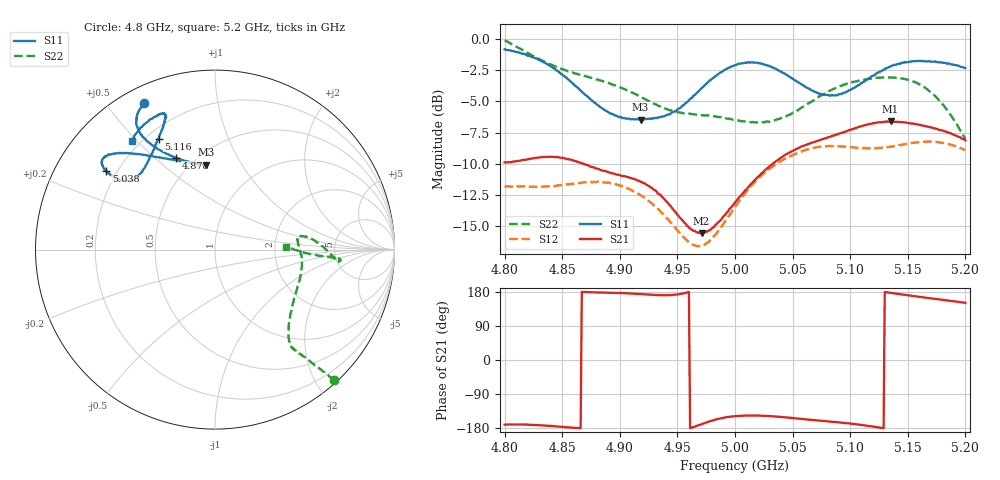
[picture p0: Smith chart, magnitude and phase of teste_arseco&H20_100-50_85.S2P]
! Network Analyzer HP8722D
! Hewlett-Packard
! Data name: Linha & Wilkinson
! Saver's name: Rodrigo Anjos
! Comments: Teste da utilização de aquisição
! continua pelo VNA HP8722D
! Time and date: 6/5/2025 13:16
!  Frequency  S11  S21  S12  S22
# HZ  S  MA R 50
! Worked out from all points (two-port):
!   401 points, 4.8 GHz to 5.2 GHz, reference 50 ohm
!   highest |S21| = -6.59 dB at 5.135 GHz (marker M1); lowest = -15.5 dB at 4.971 GHz (marker M2)
!   |S21| within 3 dB of the highest: 4.823 GHz to 4.853 GHz (30.28 MHz wide, 0.626 % of centre); 5.039 GHz to end of sweep
!   lowest |S11| = -6.5 dB at 4.918 GHz (marker M3), VSWR 2.81, Z = 29.1 + j35.5 ohm
!   |S11| at or under -10 dB: nowhere
!   |S22| runs from -8.0 to -0.1 dB; largest |S21 - S12| = 0.83
!   S11 on the Smith chart (normalised r, x): 4.8 GHz: 0.07, +0.63; 4.878 GHz: 0.40, +0.59; 5.038 GHz: 0.16, +0.32; 5.116 GHz: 0.25, +0.59; 5.2 GHz: 0.17, +0.48
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4.8e9  0.907 115.7  0.3206 -170.6  0.2567 -86.1  0.9845 -47.5
4.819e9  0.8622 120.3  0.3288 -170.4  0.2558 -81.9  0.8813 -48.8
4.835e9  0.8022 122.5  0.337 -172.9  0.2566 -76.5  0.808 -49.7
4.867e9  0.6145 117.9  0.3181 179.8  0.2657 -67.4  0.7152 -51.5
4.878e9  0.5551 113.1  0.305 178.5  0.2677 -66.1  0.6924 -51.9
4.901e9  0.4869 100.7  0.2838 176.7  0.2584 -66.8  0.6377 -50.1
4.918e9  0.4752 96.3  0.2679 173.9  0.2366 -68.7  0.5858 -45.3
4.934e9  0.4846 99.1  0.2393 171.1  0.2072 -69.4  0.5378 -37.5
4.959e9  0.5608 116.3  0.1779 178.5  0.1549 -58.9  0.501 -21.0
4.971e9  0.6343 124.6  0.167 -169.5  0.1485 -45.4  0.495 -13.9
4.98e9  0.6909 129.5  0.1745 -159.9  0.159 -35.0  0.4909 -9.2
5e9  0.7849 137.3  0.2215 -148.5  0.2124 -21.5  0.4733 -0.4
5.019e9  0.8032 141.8  0.2777 -146.7  0.2724 -18.4  0.4628 5.9
5.038e9  0.7467 144.2  0.3296 -149.7  0.3205 -18.4  0.4776 8.9
5.067e9  0.621 141.8  0.3846 -158.0  0.3653 -20.6  0.5626 4.6
5.088e9  0.5936 133.0  0.4136 -164.0  0.372 -23.8  0.6368 -1.7
5.116e9  0.6942 117.0  0.4552 -174.2  0.365 -26.9  0.6899 -5.3
5.134e9  0.7692 111.3  0.4651 177.8  0.3692 -28.7  0.7004 -4.8
5.135e9  0.7754 111.1  0.4681 177.3  0.3707 -28.8  0.7011 -4.7
5.162e9  0.8162 112.9  0.4504 165.9  0.3871 -35.4  0.651 -3.7
5.181e9  0.8019 119.4  0.4281 158.5  0.3827 -41.3  0.542 -2.9
5.2e9  0.7632 127.3  0.3925 150.8  0.359 -46.2  0.3967 2.4
